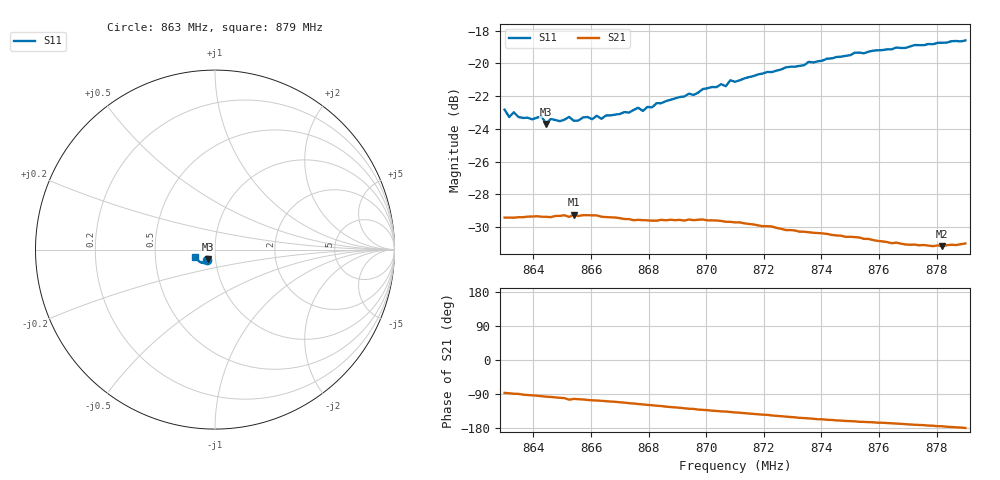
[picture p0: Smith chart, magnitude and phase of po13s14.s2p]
# HZ S RI R 50
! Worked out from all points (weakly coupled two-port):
!   101 points, 863 MHz to 879 MHz, reference 50 ohm
!   highest |S21| = -29.26 dB at 865.4 MHz (marker M1); lowest = -31.2 dB at 878.2 MHz (marker M2)
!   lowest |S11| = -23.7 dB at 864.44 MHz (marker M3), VSWR 1.14, Z = 46.1 - j4.96 ohm
!   |S11| at or under -10 dB: start of sweep to end of sweep
!   S12 and S22 are empty: the file has one direction only
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8.63e8  -0.0466 -0.0552  0.00192 -0.0337  0 0  0 0
8.6316e8  -0.0423 -0.054  0.00126 -0.0338  0 0  0 0
8.6332e8  -0.0447 -0.0551  0.000636 -0.0337  0 0  0 0
8.6348e8  -0.0409 -0.0551  0.00034 -0.0339  0 0  0 0
8.6396e8  -0.0402 -0.0542  -0.00192 -0.034  0 0  0 0
8.6428e8  -0.0393 -0.0567  -0.00326 -0.0338  0 0  0 0
8.6444e8  -0.0374 -0.0536  -0.004 -0.0337  0 0  0 0
8.646e8  -0.0384 -0.0557  -0.00446 -0.0336  0 0  0 0
8.6492e8  -0.0364 -0.0558  -0.0058 -0.0337  0 0  0 0
8.6524e8  -0.0382 -0.057  -0.00864 -0.0328  0 0  0 0
8.654e8  -0.0356 -0.0565  -0.00755 -0.0336  0 0  0 0
8.6572e8  -0.0351 -0.0586  -0.00839 -0.0333  0 0  0 0
8.6636e8  -0.0345 -0.0583  -0.0103 -0.0324  0 0  0 0
8.6764e8  -0.0364 -0.0635  -0.0146 -0.0299  0 0  0 0
8.678e8  -0.0352 -0.0623  -0.0152 -0.0295  0 0  0 0
8.6844e8  -0.0382 -0.0652  -0.0174 -0.0283  0 0  0 0
8.7084e8  -0.0495 -0.0738  -0.024 -0.0223  0 0  0 0
8.71e8  -0.0481 -0.0736  -0.0244 -0.0217  0 0  0 0
8.7372e8  -0.0682 -0.0741  -0.0275 -0.0129  0 0  0 0
8.7644e8  -0.0917 -0.0616  -0.0275 -0.00633  0 0  0 0
8.782e8  -0.1063 -0.0456  -0.0275 -0.00246  0 0  0 0
8.79e8  -0.111 -0.0388  -0.0282 -0.000291  0 0  0 0
